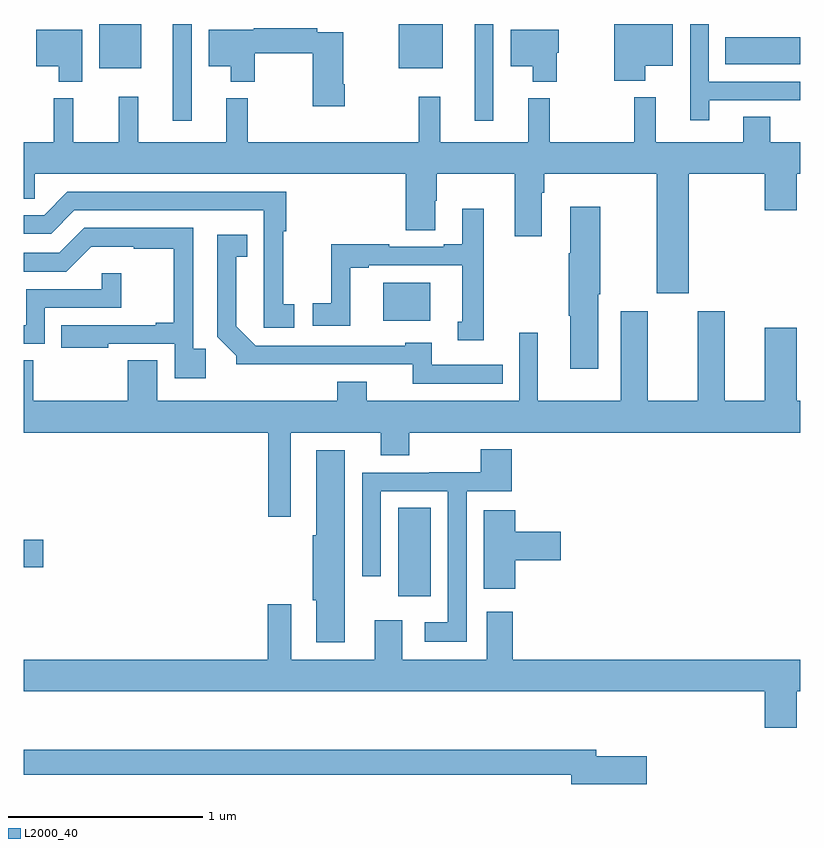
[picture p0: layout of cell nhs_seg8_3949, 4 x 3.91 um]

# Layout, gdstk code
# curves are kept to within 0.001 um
import gdstk
lib = gdstk.Library(unit=1e-6, precision=1e-09)
def R(c, l, rs):  # rectangles x0, y0, x1, y1
    for r in rs: c.add(gdstk.rectangle(r[:2], r[2:], *l))
def P(c, l, *ps):  # polygons
    for p in ps: c.add(gdstk.Polygon(p, *l))
L2000_40 = (2000, 40)

nhs_seg8_3949 = lib.new_cell('nhs_seg8_3949')
R(nhs_seg8_3949, L2000_40, [(354.929,1152.954,355.096,1153.409), (353,1153.102,353.101,1153.244), (354.851,1154.372,355.093,1154.569), (353.768,1155.402,353.865,1155.9), (355.322,1155.402,355.419,1155.9), (353.39,1155.671,353.605,1155.9), (354.932,1155.671,355.159,1155.9), (356.614,1155.692,357,1155.832)])
P(nhs_seg8_3949, L2000_40, [(356.2,1155.686),(356.343,1155.686),(356.343,1155.9),(356.042,1155.9),(356.042,1155.607),(356.2,1155.607)],
  [(356.53,1155.507),(357,1155.507),(357,1155.603),(356.529,1155.603),(356.529,1155.9),(356.433,1155.9),(356.433,1155.405),(356.53,1155.405)],
  [(354.654,1155.589),(354.646,1155.589),(354.646,1155.858),(354.512,1155.858),(354.512,1155.878),(354.186,1155.878),(354.186,1155.871),(353.954,1155.871),(353.954,1155.683),(354.068,1155.683),(354.068,1155.602),(354.19,1155.602),(354.19,1155.75),(354.488,1155.75),(354.488,1155.477),(354.654,1155.477)],
  [(355.744,1155.753),(355.756,1155.753),(355.756,1155.871),(355.508,1155.871),(355.508,1155.683),(355.622,1155.683),(355.622,1155.602),(355.744,1155.602)],
  [(353.302,1155.871),(353.066,1155.871),(353.066,1155.683),(353.18,1155.683),(353.18,1155.602),(353.302,1155.602)],
  [(356.425,1155.128),(356.816,1155.128),(356.816,1154.94),(356.98,1154.94),(356.98,1155.128),(357,1155.128),(357,1155.292),(356.845,1155.292),(356.845,1155.422),(356.705,1155.422),(356.705,1155.292),(356.255,1155.292),(356.255,1155.522),(356.145,1155.522),(356.145,1155.292),(355.708,1155.292),(355.708,1155.517),(355.598,1155.517),(355.598,1155.292),(355.145,1155.292),(355.145,1155.526),(355.035,1155.526),(355.035,1155.292),(354.154,1155.292),(354.154,1155.517),(354.044,1155.517),(354.044,1155.292),(353.591,1155.292),(353.591,1155.526),(353.491,1155.526),(353.491,1155.292),(353.256,1155.292),(353.256,1155.517),(353.156,1155.517),(353.156,1155.292),(353,1155.292),(353,1155.001),(353.058,1155.001),(353.058,1155.128),(354.968,1155.128),(354.968,1154.839),(355.12,1154.839),(355.12,1154.99),(355.128,1154.99),(355.128,1155.128),(355.529,1155.128),(355.529,1154.808),(355.669,1154.808),(355.669,1155.032),(355.682,1155.032),(355.682,1155.128),(356.261,1155.128),(356.261,1154.514),(356.425,1154.514)],
  [(354.394,1154.457),(354.336,1154.457),(354.336,1154.833),(354.353,1154.833),(354.353,1155.036),(353.226,1155.036),(353.106,1154.916),(353,1154.916),(353,1154.82),(353.142,1154.82),(353.262,1154.94),(354.237,1154.94),(354.236,1154.337),(354.394,1154.337)],
  [(355.96,1154.509),(355.968,1154.509),(355.968,1154.959),(355.814,1154.959),(355.814,1154.72),(355.807,1154.72),(355.807,1154.398),(355.814,1154.398),(355.814,1154.124),(355.96,1154.124)],
  [(355.369,1154.95),(355.259,1154.95),(355.259,1154.767),(355.163,1154.767),(355.163,1154.754),(354.884,1154.754),(354.884,1154.767),(354.583,1154.767),(354.583,1154.462),(354.489,1154.462),(354.489,1154.346),(354.682,1154.346),(354.682,1154.646),(354.778,1154.646),(354.778,1154.658),(355.259,1154.658),(355.259,1154.367),(355.235,1154.367),(355.235,1154.273),(355.369,1154.273)],
  [(353.939,1154.227),(353.874,1154.227),(353.874,1154.85),(353.313,1154.85),(353.184,1154.721),(353,1154.721),(353,1154.625),(353.22,1154.625),(353.348,1154.753),(353.567,1154.753),(353.567,1154.742),(353.773,1154.742),(353.773,1154.362),(353.681,1154.362),(353.681,1154.349),(353.194,1154.349),(353.194,1154.234),(353.437,1154.234),(353.437,1154.253),(353.778,1154.253),(353.778,1154.076),(353.939,1154.076)],
  [(355.466,1154.145),(355.102,1154.145),(355.102,1154.26),(354.966,1154.26),(354.966,1154.244),(354.195,1154.244),(354.094,1154.345),(354.094,1154.702),(354.152,1154.702),(354.152,1154.815),(353.997,1154.815),(353.997,1154.29),(354.096,1154.191),(354.096,1154.147),(355.003,1154.148),(355.003,1154.049),(355.466,1154.049)],
  [(353.109,1154.439),(353.504,1154.439),(353.504,1154.617),(353.403,1154.617),(353.403,1154.535),(353.013,1154.535),(353.013,1154.349),(353,1154.349),(353,1154.253),(353.109,1154.253)],
  [(354.376,1153.796),(354.839,1153.796),(354.839,1153.679),(354.987,1153.679),(354.987,1153.796),(357,1153.796),(357,1153.96),(356.98,1153.96),(356.98,1154.335),(356.816,1154.335),(356.816,1153.96),(356.611,1153.96),(356.611,1154.422),(356.471,1154.422),(356.471,1153.96),(356.215,1153.96),(356.215,1154.422),(356.075,1154.422),(356.075,1153.96),(355.648,1153.96),(355.648,1154.311),(355.551,1154.311),(355.551,1153.96),(354.766,1153.96),(354.766,1154.059),(354.614,1154.059),(354.614,1153.96),(353.689,1153.96),(353.689,1154.168),(353.537,1154.168),(353.537,1153.96),(353.051,1153.96),(353.051,1154.168),(353,1154.168),(353,1153.796),(354.259,1153.796),(354.259,1153.362),(354.376,1153.362)],
  [(355.281,1153.494),(355.514,1153.494),(355.514,1153.711),(355.354,1153.711),(355.354,1153.592),(355.088,1153.592),(355.088,1153.59),(354.744,1153.59),(354.744,1153.056),(354.84,1153.056),(354.84,1153.494),(355.185,1153.494),(355.185,1152.82),(355.065,1152.82),(355.065,1152.719),(355.281,1152.719)],
  [(354.655,1153.705),(354.506,1153.705),(354.506,1153.269),(354.488,1153.269),(354.488,1152.933),(354.506,1152.933),(354.506,1152.717),(354.655,1152.717)],
  [(355.532,1153.139),(355.765,1153.139),(355.765,1153.286),(355.532,1153.286),(355.532,1153.396),(355.37,1153.396),(355.37,1152.993),(355.532,1152.993)],
  [(356.98,1152.464),(357,1152.464),(357,1152.628),(355.52,1152.628),(355.52,1152.874),(355.385,1152.874),(355.385,1152.628),(354.949,1152.628),(354.949,1152.829),(354.809,1152.829),(354.809,1152.628),(354.379,1152.628),(354.379,1152.913),(354.258,1152.913),(354.258,1152.628),(353,1152.628),(353,1152.464),(356.816,1152.464),(356.816,1152.276),(356.98,1152.276)],
  [(356.209,1152.129),(355.948,1152.129),(355.948,1152.163),(353,1152.163),(353,1152.034),(355.82,1152.034),(355.82,1151.987),(356.209,1151.987)])

lib.write_gds('nhs_seg8_3949.gds')
